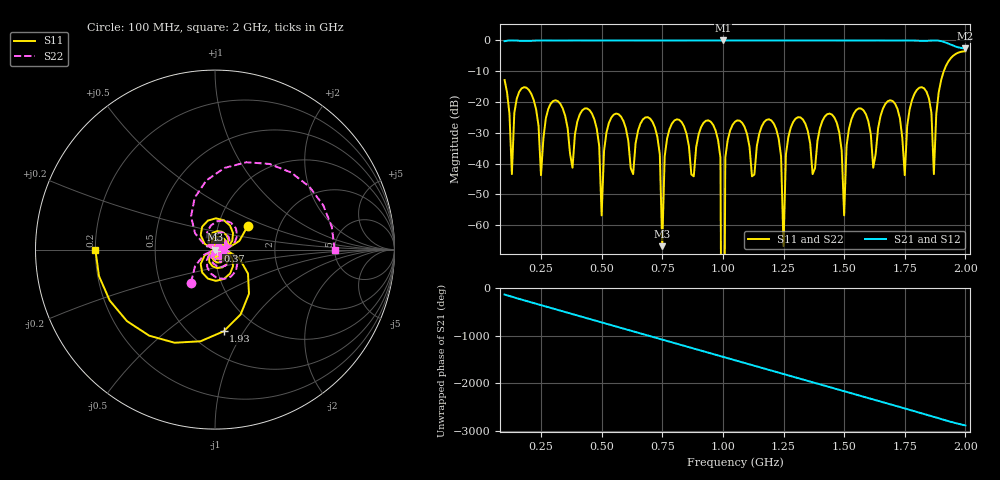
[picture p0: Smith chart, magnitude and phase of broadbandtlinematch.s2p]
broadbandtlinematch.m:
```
% script matrix1

% 100MHz - 2000MHz
sweeppoints = 100e+6:10e+6:2000e+6;

% port impedance
Z0 = 50 + 0j;
ZL = 10;


% common functions
addpath("../RFlib")

function M = SteppedLines(M, level, Zl, Zr, f)
    if level > 3
        return;
    end
    Zmid = sqrt(Zl * Zr);
    M = SteppedLines(M, level+1, Zl, Zmid, f);
    M = M * TLineMatrix(Zmid, f2rad(f, 1e9)/4);
    M = SteppedLines(M, level+1, Zmid, Zr, f);
    return
end

ts = sweep2ts(sweeppoints);

for fp = 1:length(sweeppoints)
    f = sweeppoints(fp);

    % 1/4 wave tline
    
    M = TLineMatrix(Z0, f2rad(f, 1e+9)/4);
    M = SteppedLines(M, 0, Z0, ZL, f);

    % 10 ohms
    M = M * ImpedanceTransformerMatrix(ZL, Z0);

    ts.points(fp).S = abcd2s(M, Z0);
end

plot2ports(ts, 91);

pause();

touchstonewrite([mfilename() '.s2p'], ts);
```
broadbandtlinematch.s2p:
! https://github.com/szoftveres
# Hz S RI R 50
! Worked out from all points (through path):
!   191 points, 100 MHz to 2 GHz, reference 50 ohm
!   highest |S21| = 0.00 dB at 1 GHz (marker M1); lowest = -2.6 dB at 2 GHz (marker M2)
!   group delay of S21, straight-line fit = 4.01 ns
!   lowest |S11| = -66.8 dB at 750 MHz (marker M3), VSWR 1.00, Z = 50 - j0.0421 ohm
!   |S11| at or under -10 dB: start of sweep to 1.911 GHz
!   |S22| runs from - to -3.5 dB; largest |S21 - S12| = 0
!   S11 on the Smith chart (normalised r, x): 100 MHz: 1.39, +0.39; 370 MHz: 1.03, -0.01; 1.93 GHz: 0.71, -0.82; 2 GHz: 0.20, +0.00
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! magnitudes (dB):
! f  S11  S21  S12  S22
! 100 MHz  -12.9  -0.2  -0.2  -12.9
! 370 MHz  -36.9  0.0  0.0  -36.9
! 700 MHz  -25.4  0.0  0.0  -25.4
! 750 MHz  -66.8  0.0  0.0  -66.8
! 950 MHz  -26.4  0.0  0.0  -26.4
! 1 GHz  -  0.0  0.0  -
! 1.05 GHz  -26.4  0.0  0.0  -26.4
! 1.25 GHz  -66.8  0.0  0.0  -66.8
! 1.3 GHz  -25.4  0.0  0.0  -25.4
! 1.93 GHz  -6.8  -1.0  -1.0  -6.8
! 2 GHz  -3.5  -2.6  -2.6  -3.5
